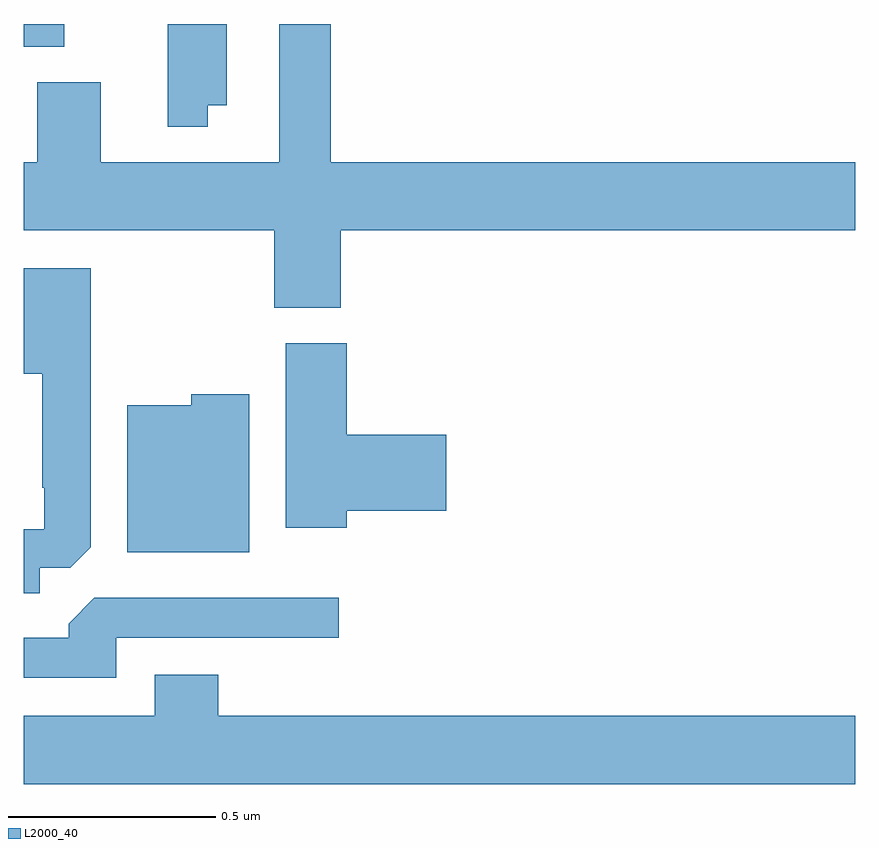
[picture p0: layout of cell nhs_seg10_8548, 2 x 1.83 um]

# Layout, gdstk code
import gdstk
lib = gdstk.Library(unit=1e-6, precision=1e-09)
def R(c, l, rs):  # rectangles x0, y0, x1, y1
    for r in rs: c.add(gdstk.rectangle(r[:2], r[2:], *l))
def P(c, l, *ps):  # polygons
    for p in ps: c.add(gdstk.Polygon(p, *l))
L2000_40 = (2000, 40)

nhs_seg10_8548 = lib.new_cell('nhs_seg10_8548')
R(nhs_seg10_8548, L2000_40, [(218,1279.445,218.098,1279.5)])
P(nhs_seg10_8548, L2000_40, [(218.762,1279.004),(220,1279.004),(220,1279.168),(218.738,1279.168),(218.738,1279.5),(218.615,1279.5),(218.615,1279.168),(218.185,1279.168),(218.185,1279.36),(218.033,1279.36),(218.033,1279.168),(218,1279.168),(218,1279.004),(218.602,1279.004),(218.602,1278.817),(218.762,1278.817)],
  [(218.443,1279.304),(218.488,1279.304),(218.488,1279.5),(218.346,1279.5),(218.346,1279.253),(218.443,1279.253)],
  [(218.038,1278.192),(218.112,1278.192),(218.161,1278.241),(218.161,1278.913),(218,1278.913),(218,1278.659),(218.045,1278.659),(218.045,1278.385),(218.049,1278.385),(218.049,1278.285),(218,1278.285),(218,1278.131),(218.038,1278.131)],
  [(218.777,1278.329),(219.016,1278.329),(219.016,1278.512),(218.777,1278.512),(218.777,1278.732),(218.63,1278.732),(218.63,1278.288),(218.777,1278.288)],
  [(218.542,1278.61),(218.403,1278.61),(218.403,1278.583),(218.249,1278.583),(218.249,1278.23),(218.542,1278.23)],
  [(218.223,1278.024),(218.758,1278.024),(218.758,1278.12),(218.169,1278.12),(218.108,1278.058),(218.108,1278.024),(218,1278.024),(218,1277.928),(218.223,1277.928)],
  [(220,1277.836),(218.468,1277.836),(218.468,1277.935),(218.315,1277.935),(218.315,1277.836),(218,1277.836),(218,1277.672),(220,1277.672)])

lib.write_gds('nhs_seg10_8548.gds')
